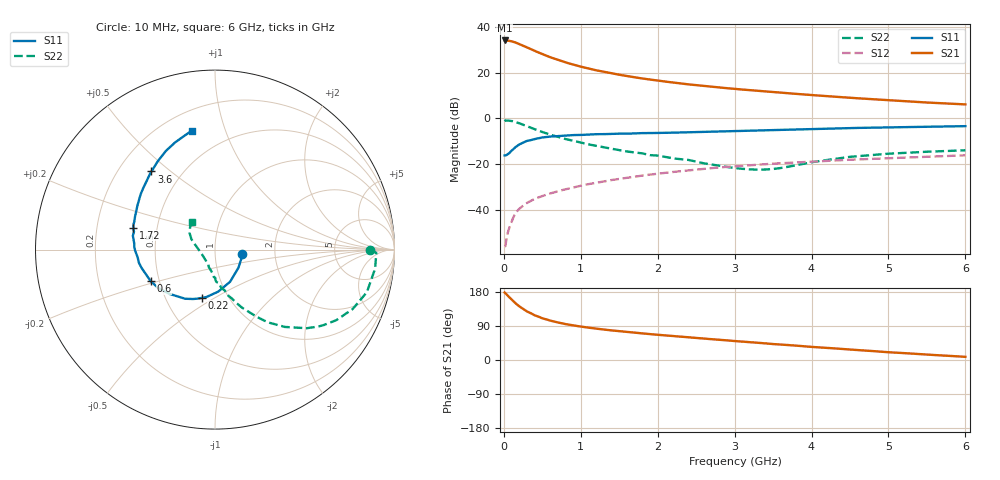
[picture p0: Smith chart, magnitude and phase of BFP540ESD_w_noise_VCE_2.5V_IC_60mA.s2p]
! Infineon Technologies  Discrete & RF Semiconductors
! BFP540ESD
! VCE =  2.5 V,  IC =  60 mA
! Common Emitter S-Parameters:  Nov 2015
# GHz  S  MA  R  50
!  f  S11  S21  S12  S22
! GHz  MAG  ANG  MAG  ANG  MAG  ANG  MAG  ANG
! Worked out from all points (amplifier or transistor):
!   210 points, 10 MHz to 6 GHz, reference 50 ohm
!   highest |S21| = 34.1 dB at 10 MHz (marker M1)
!   |S21| within 3 dB of that: start of sweep to 298.5 MHz
!   unconditionally stable (mu >= 1): start of sweep to 25.08 MHz; 1.247 GHz to end of sweep
!   at 185 MHz: K = 0.41, MSG = 36.4 dB, |S12| = -40.1 dB
!   at 1.52 GHz: K = 1.04, MAG = 21.4 dB, |S12| = -26.4 dB
!   at 6 GHz: K = 1.12, MAG = 9.1 dB, |S12| = -16.2 dB
!   lowest NFmin = 2.01 dB at 900 MHz
!   S11 on the Smith chart (normalised r, x): 10 MHz: 1.36, -0.07; 220 MHz: 0.75, -0.44; 600 MHz: 0.45, -0.19; 1.72 GHz: 0.36, +0.12; 3.6 GHz: 0.34, +0.43; 6 GHz: 0.32, +0.77
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0.01  0.1544 -9.4  50.59 178.0  0.0016 123.7  0.8625 0.0
0.02  0.1552 -17.9  50.23 176.4  0.0016 114.8  0.8991 -1.2
0.05  0.1652 -37.7  50.33 169.8  0.0031 91.8  0.8982 -6.8
0.1  0.1981 -65.0  48.63 159.6  0.0054 80.0  0.8789 -15.7
0.15  0.2345 -85.5  45.82 150.1  0.0084 78.5  0.8352 -23.4
0.2  0.2685 -100.2  42.46 141.7  0.0105 75.7  0.7817 -30.2
0.22  0.2786 -105.2  40.99 139.0  0.0112 74.2  0.7593 -32.4
0.26  0.3013 -114.0  38.28 133.3  0.0126 71.5  0.7165 -36.8
0.3  0.3205 -121.3  35.72 128.2  0.0141 69.0  0.6732 -40.6
0.4  0.3535 -135.7  29.91 118.0  0.0173 66.9  0.5796 -48.0
0.5  0.3821 -146.1  25.45 110.1  0.0201 65.8  0.502 -53.9
0.6  0.3991 -153.9  21.81 104.1  0.0227 66.2  0.4416 -58.1
0.8  0.4218 -166.0  16.79 94.8  0.028 65.9  0.354 -65.3
1.02  0.4351 -175.3  13.28 87.7  0.0343 65.4  0.2887 -70.9
1.3  0.4507 175.9  10.42 80.4  0.0416 64.3  0.2328 -76.8
1.72  0.4712 164.9  7.817 71.6  0.0535 62.2  0.1784 -87.8
2.02  0.4812 158.2  6.622 66.2  0.062 59.6  0.1513 -92.8
3.1  0.5314 137.6  4.269 48.7  0.0917 50.5  0.0787 -131.9
3.6  0.5611 129.1  3.643 40.8  0.1042 45.4  0.0821 -169.6
4.1  0.5904 121.8  3.147 33.3  0.1152 40.5  0.1161 165.4
5.1  0.6401 109.5  2.439 19.4  0.1365 31.1  0.1718 145.1
6  0.6753 100.9  2.02 8.3  0.1553 23.8  0.2005 129.2
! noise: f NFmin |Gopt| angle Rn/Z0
0.9  2.01  0.53  -140  0.17
1.8  2.16  0.55  -142  0.17
2.4  2.22  0.56  -131  0.22
3  2.36  0.58  -122  0.31
4  2.43  0.64  -102  0.57
5  2.56  0.7  -86  0.85
6  3.02  0.65  -82  1.34
